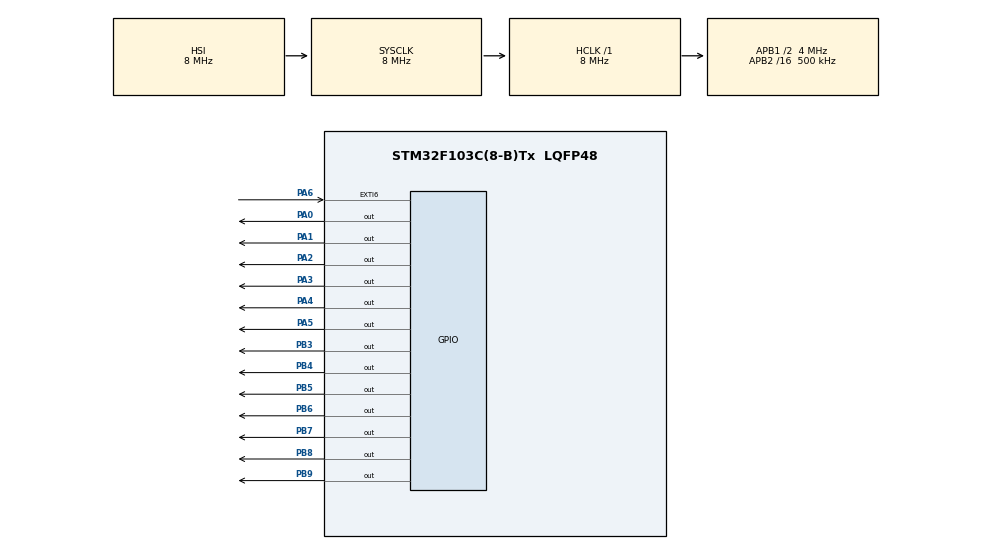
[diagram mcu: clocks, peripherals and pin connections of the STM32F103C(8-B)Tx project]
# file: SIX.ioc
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Mcu.Family=STM32F1
Mcu.Name=STM32F103C(8-B)Tx
Mcu.Package=LQFP48
NVIC.EXTI9_5_IRQn=true\:0\:0\:false\:false\:true\:true\:true\:true
NVIC.PriorityGroup=NVIC_PRIORITYGROUP_4
NVIC.TIM1_UP_IRQn=true\:1\:0\:true\:false\:true\:true\:true\:true
PA0-WKUP.GPIO_Speed=GPIO_SPEED_FREQ_HIGH
PA0-WKUP.Signal=GPIO_Output
PA1.GPIO_Speed=GPIO_SPEED_FREQ_HIGH
PA1.Signal=GPIO_Output
PA2.GPIO_Speed=GPIO_SPEED_FREQ_HIGH
PA2.Signal=GPIO_Output
PA3.GPIO_Speed=GPIO_SPEED_FREQ_HIGH
PA3.Signal=GPIO_Output
PA4.GPIO_Speed=GPIO_SPEED_FREQ_HIGH
PA4.Signal=GPIO_Output
PA5.GPIO_Speed=GPIO_SPEED_FREQ_HIGH
PA5.Signal=GPIO_Output
PA6.GPIO_ModeDefaultEXTI=GPIO_MODE_IT_FALLING
PA6.GPIO_PuPd=GPIO_PULLUP
PA6.Signal=GPXTI6
PB3.GPIO_Speed=GPIO_SPEED_FREQ_HIGH
PB3.Signal=GPIO_Output
PB4.GPIO_Speed=GPIO_SPEED_FREQ_HIGH
PB4.Signal=GPIO_Output
PB5.GPIO_Speed=GPIO_SPEED_FREQ_HIGH
PB5.Signal=GPIO_Output
PB6.GPIO_Speed=GPIO_SPEED_FREQ_HIGH
PB6.Signal=GPIO_Output
PB7.GPIO_Speed=GPIO_SPEED_FREQ_HIGH
PB7.Signal=GPIO_Output
PB8.GPIO_Speed=GPIO_SPEED_FREQ_HIGH
PB8.Signal=GPIO_Output
PB9.GPIO_Speed=GPIO_SPEED_FREQ_HIGH
PB9.Signal=GPIO_Output
PD0-OSC_IN.Mode=HSE-External-Oscillator
PD0-OSC_IN.Signal=RCC_OSC_IN
PD1-OSC_OUT.Mode=HSE-External-Oscillator
PD1-OSC_OUT.Signal=RCC_OSC_OUT
ProjectManager.HeapSize=0x200
ProjectManager.StackSize=0x400
ProjectManager.TargetToolchain=STM32CubeIDE
RCC.AHBFreq_Value=8000000
RCC.APB1CLKDivider=RCC_HCLK_DIV2
RCC.APB1Freq_Value=4000000
RCC.APB1TimFreq_Value=8000000
RCC.APB2CLKDivider=RCC_HCLK_DIV16
RCC.APB2Freq_Value=500000
RCC.APB2TimFreq_Value=1000000
RCC.HCLKFreq_Value=8000000
RCC.SYSCLKFreq_VALUE=8000000
RCC.USBFreq_Value=8000000
TIM1.Period=1000-1
TIM1.Prescaler=1000-1
VP_TIM1_VS_ClockSourceINT.Mode=Internal
board=custom

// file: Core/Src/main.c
/* USER CODE BEGIN Header */
/* USER CODE END Header */
#include "main.h"

TIM_HandleTypeDef htim1;

/* USER CODE BEGIN PV */
int sec, min, hour;

/* USER CODE END PV */

void SystemClock_Config(void);
static void MX_GPIO_Init(void);
static void MX_TIM1_Init(void);

/* USER CODE BEGIN 0 */

void displayDigit(int digit, int value)
{
    switch (digit)
    {
		case 1:
			HAL_GPIO_WritePin(GPIOA, GPIO_PIN_0, GPIO_PIN_RESET);
			break;

		case 2:
			HAL_GPIO_WritePin(GPIOA, GPIO_PIN_1, GPIO_PIN_RESET);
			break;

		case 3:
			HAL_GPIO_WritePin(GPIOA, GPIO_PIN_2, GPIO_PIN_RESET);
			break;

		case 4:
			HAL_GPIO_WritePin(GPIOA, GPIO_PIN_3, GPIO_PIN_RESET);
			break;

		case 5:
			HAL_GPIO_WritePin(GPIOA, GPIO_PIN_4, GPIO_PIN_RESET);
			break;

		case 6:
			HAL_GPIO_WritePin(GPIOA, GPIO_PIN_5, GPIO_PIN_RESET);
			break;
    }

    switch (value)
    {
		case 0:
			HAL_GPIO_WritePin(GPIOB, GPIO_PIN_3 | GPIO_PIN_4 | GPIO_PIN_5 | GPIO_PIN_6 | GPIO_PIN_7 | GPIO_PIN_8, GPIO_PIN_SET);
			HAL_GPIO_WritePin(GPIOB, GPIO_PIN_9 | GPIO_PIN_10, GPIO_PIN_RESET);
			break;

		case 1:
			HAL_GPIO_WritePin(GPIOB, GPIO_PIN_4 | GPIO_PIN_5, GPIO_PIN_SET);
			HAL_GPIO_WritePin(GPIOB, GPIO_PIN_3 | GPIO_PIN_6 | GPIO_PIN_8 | GPIO_PIN_7 | GPIO_PIN_9 | GPIO_PIN_10, GPIO_PIN_RESET);
			break;

		case 2:
			HAL_GPIO_WritePin(GPIOB, GPIO_PIN_3 | GPIO_PIN_4 | GPIO_PIN_6 | GPIO_PIN_7 | GPIO_PIN_9, GPIO_PIN_SET);
			HAL_GPIO_WritePin(GPIOB, GPIO_PIN_5 | GPIO_PIN_8 | GPIO_PIN_10, GPIO_PIN_RESET);
			break;

		case 3:
			HAL_GPIO_WritePin(GPIOB, GPIO_PIN_3 | GPIO_PIN_4 | GPIO_PIN_5 | GPIO_PIN_6 | GPIO_PIN_9, GPIO_PIN_SET);
			HAL_GPIO_WritePin(GPIOB, GPIO_PIN_7 | GPIO_PIN_8 | GPIO_PIN_10, GPIO_PIN_RESET);
			break;

		case 4:
			HAL_GPIO_WritePin(GPIOB, GPIO_PIN_4 | GPIO_PIN_5 | GPIO_PIN_8 | GPIO_PIN_9, GPIO_PIN_SET);
			HAL_GPIO_WritePin(GPIOB, GPIO_PIN_3 | GPIO_PIN_6 | GPIO_PIN_7 | GPIO_PIN_10, GPIO_PIN_RESET);
			break;

		case 5:
			HAL_GPIO_WritePin(GPIOB, GPIO_PIN_3 | GPIO_PIN_5 | GPIO_PIN_6 | GPIO_PIN_8 | GPIO_PIN_9, GPIO_PIN_SET);
			HAL_GPIO_WritePin(GPIOB, GPIO_PIN_4 | GPIO_PIN_7 | GPIO_PIN_10, GPIO_PIN_RESET);
			break;

		case 6:
			HAL_GPIO_WritePin(GPIOB, GPIO_PIN_3 | GPIO_PIN_5 | GPIO_PIN_6 | GPIO_PIN_7 | GPIO_PIN_8 | GPIO_PIN_9, GPIO_PIN_SET);
			HAL_GPIO_WritePin(GPIOB, GPIO_PIN_4 | GPIO_PIN_10, GPIO_PIN_RESET);
			break;

		case 7:
			HAL_GPIO_WritePin(GPIOB, GPIO_PIN_3 | GPIO_PIN_4 | GPIO_PIN_5 , GPIO_PIN_SET);
			HAL_GPIO_WritePin(GPIOB, GPIO_PIN_6 | GPIO_PIN_7 | GPIO_PIN_8 | GPIO_PIN_9 | GPIO_PIN_10, GPIO_PIN_RESET);
			break;

		case 8:
			HAL_GPIO_WritePin(GPIOB, GPIO_PIN_3 | GPIO_PIN_4 | GPIO_PIN_5 | GPIO_PIN_6 | GPIO_PIN_7 | GPIO_PIN_8 | GPIO_PIN_9, GPIO_PIN_SET);
			HAL_GPIO_WritePin(GPIOB, GPIO_PIN_10, GPIO_PIN_RESET);
			break;

		case 9:
			HAL_GPIO_WritePin(GPIOB, GPIO_PIN_3 | GPIO_PIN_4 | GPIO_PIN_5 | GPIO_PIN_6 | GPIO_PIN_8 | GPIO_PIN_9, GPIO_PIN_SET);
			HAL_GPIO_WritePin(GPIOB, GPIO_PIN_7 | GPIO_PIN_10, GPIO_PIN_RESET);
			break;
    }
}

void displayNumber(int number)
{
    int digit1 = (hour / 10) % 10;
    int digit2 = hour % 10;

    int digit3 = (min / 10) % 10;
    int digit4 = min % 10;

    int digit5 = (sec / 10) % 10;
    int digit6 = sec % 10;

	HAL_GPIO_WritePin(GPIOA, GPIO_PIN_0 | GPIO_PIN_1 | GPIO_PIN_2 | GPIO_PIN_3 | GPIO_PIN_4 | GPIO_PIN_5, GPIO_PIN_SET);
	displayDigit(1, digit1);
	HAL_Delay(1);

	HAL_GPIO_WritePin(GPIOA, GPIO_PIN_0 | GPIO_PIN_1 | GPIO_PIN_2 | GPIO_PIN_3 | GPIO_PIN_4 | GPIO_PIN_5, GPIO_PIN_SET);
	displayDigit(2, digit2);
	HAL_Delay(1);

	HAL_GPIO_WritePin(GPIOA, GPIO_PIN_0 | GPIO_PIN_1 | GPIO_PIN_2 | GPIO_PIN_3 | GPIO_PIN_4 | GPIO_PIN_5, GPIO_PIN_SET);
	displayDigit(3, digit3);
	HAL_Delay(1);

    HAL_GPIO_WritePin(GPIOA, GPIO_PIN_0 | GPIO_PIN_1 | GPIO_PIN_2 | GPIO_PIN_3 | GPIO_PIN_4 | GPIO_PIN_5, GPIO_PIN_SET);
    displayDigit(4, digit4);
    HAL_Delay(1);

	HAL_GPIO_WritePin(GPIOA, GPIO_PIN_0 | GPIO_PIN_1 | GPIO_PIN_2 | GPIO_PIN_3 | GPIO_PIN_4 | GPIO_PIN_5, GPIO_PIN_SET);
	displayDigit(5, digit5);
	HAL_Delay(1);

    HAL_GPIO_WritePin(GPIOA, GPIO_PIN_0 | GPIO_PIN_1 | GPIO_PIN_2 | GPIO_PIN_3 | GPIO_PIN_4 | GPIO_PIN_5, GPIO_PIN_SET);
    displayDigit(6, digit6);
    HAL_Delay(1);
}

void HAL_TIM_PeriodElapsedCallback(TIM_HandleTypeDef *htim){
	sec++;

	if (sec == 60){
		sec = 0;
		min++;
	}

	if (min == 60){
		min = 0;
		hour++;
	}

	if (hour == 24){
		hour = 0;
	}
}

void HAL_GPIO_EXTI_Callback(uint16_t GPIO_Pin){
	int duty = 1;

	switch (duty){
	case 0: // Reset Time
		sec = 0;
		min = 0;
		hour =0;
		break;

	case 1: // Set Time with seconds
		sec++;

		if (sec == 60){
			sec = 0;
			min++;
		}

		if (min == 60){
			min = 0;
			hour++;
		}

		if (hour == 24){
			hour = 0;
		}

		break;
	}

}

/* USER CODE END 0 */

int main(void)
{

  /* MCU Configuration--------------------------------------------------------*/

  /* Reset of all peripherals, Initializes the Flash interface and the Systick. */
  HAL_Init();

  /* Configure the system clock */
  SystemClock_Config();

  /* Initialize all configured peripherals */
  MX_GPIO_Init();
  MX_TIM1_Init();
  /* USER CODE BEGIN 2 */

  GPIO_InitTypeDef GPIO_InitStruct;
  __HAL_RCC_GPIOA_CLK_ENABLE();
  __HAL_RCC_GPIOB_CLK_ENABLE();

  GPIO_InitStruct.Pin = GPIO_PIN_0 | GPIO_PIN_1 | GPIO_PIN_2 | GPIO_PIN_3 | GPIO_PIN_4 | GPIO_PIN_5;
  GPIO_InitStruct.Mode = GPIO_MODE_OUTPUT_PP;
  GPIO_InitStruct.Speed = GPIO_SPEED_FREQ_HIGH;
  HAL_GPIO_Init(GPIOA, &GPIO_InitStruct);
  GPIO_InitStruct.Pin = GPIO_PIN_3 | GPIO_PIN_4 | GPIO_PIN_5 | GPIO_PIN_6 | GPIO_PIN_7 | GPIO_PIN_8 | GPIO_PIN_9 | GPIO_PIN_10;
  GPIO_InitStruct.Mode = GPIO_MODE_OUTPUT_PP;
  GPIO_InitStruct.Speed = GPIO_SPEED_FREQ_HIGH;
  HAL_GPIO_Init(GPIOB, &GPIO_InitStruct);

  HAL_GPIO_WritePin(GPIOA, GPIO_PIN_0 | GPIO_PIN_1 | GPIO_PIN_2 | GPIO_PIN_3 | GPIO_PIN_4 | GPIO_PIN_5, GPIO_PIN_RESET);

  HAL_TIM_Base_Start_IT(&htim1);

  while (1)
  {
	  displayNumber(sec);
  }

  /* USER CODE END 2 */

  /* Infinite loop */

}

void SystemClock_Config(void)
{
  RCC_OscInitTypeDef RCC_OscInitStruct = {0};
  RCC_ClkInitTypeDef RCC_ClkInitStruct = {0};

  /** Initializes the RCC Oscillators according to the specified parameters
  * in the RCC_OscInitTypeDef structure.
  */
  RCC_OscInitStruct.OscillatorType = RCC_OSCILLATORTYPE_HSI;
  RCC_OscInitStruct.HSIState = RCC_HSI_ON;
  RCC_OscInitStruct.HSICalibrationValue = RCC_HSICALIBRATION_DEFAULT;
  RCC_OscInitStruct.PLL.PLLState = RCC_PLL_NONE;
  if (HAL_RCC_OscConfig(&RCC_OscInitStruct) != HAL_OK)
  {
    Error_Handler();
  }

  /** Initializes the CPU, AHB and APB buses clocks
  */
  RCC_ClkInitStruct.ClockType = RCC_CLOCKTYPE_HCLK|RCC_CLOCKTYPE_SYSCLK
                              |RCC_CLOCKTYPE_PCLK1|RCC_CLOCKTYPE_PCLK2;
  RCC_ClkInitStruct.SYSCLKSource = RCC_SYSCLKSOURCE_HSI;
  RCC_ClkInitStruct.AHBCLKDivider = RCC_SYSCLK_DIV1;
  RCC_ClkInitStruct.APB1CLKDivider = RCC_HCLK_DIV2;
  RCC_ClkInitStruct.APB2CLKDivider = RCC_HCLK_DIV16;

  if (HAL_RCC_ClockConfig(&RCC_ClkInitStruct, FLASH_LATENCY_0) != HAL_OK)
  {
    Error_Handler();
  }
}

static void MX_TIM1_Init(void)
{

  TIM_ClockConfigTypeDef sClockSourceConfig = {0};
  TIM_MasterConfigTypeDef sMasterConfig = {0};

  htim1.Instance = TIM1;
  htim1.Init.Prescaler = 1000-1;
  htim1.Init.CounterMode = TIM_COUNTERMODE_UP;
  htim1.Init.Period = 1000-1;
  htim1.Init.ClockDivision = TIM_CLOCKDIVISION_DIV1;
  htim1.Init.RepetitionCounter = 0;
  htim1.Init.AutoReloadPreload = TIM_AUTORELOAD_PRELOAD_DISABLE;
  if (HAL_TIM_Base_Init(&htim1) != HAL_OK)
  {
    Error_Handler();
  }
  sClockSourceConfig.ClockSource = TIM_CLOCKSOURCE_INTERNAL;
  if (HAL_TIM_ConfigClockSource(&htim1, &sClockSourceConfig) != HAL_OK)
  {
    Error_Handler();
  }
  sMasterConfig.MasterOutputTrigger = TIM_TRGO_RESET;
  sMasterConfig.MasterSlaveMode = TIM_MASTERSLAVEMODE_DISABLE;
  if (HAL_TIMEx_MasterConfigSynchronization(&htim1, &sMasterConfig) != HAL_OK)
  {
    Error_Handler();
  }

}

static void MX_GPIO_Init(void)
{
  GPIO_InitTypeDef GPIO_InitStruct = {0};

  /* GPIO Ports Clock Enable */
  __HAL_RCC_GPIOD_CLK_ENABLE();
  __HAL_RCC_GPIOA_CLK_ENABLE();
  __HAL_RCC_GPIOB_CLK_ENABLE();

  /*Configure GPIO pin Output Level */
  HAL_GPIO_WritePin(GPIOA, GPIO_PIN_0|GPIO_PIN_1|GPIO_PIN_2|GPIO_PIN_3
                          |GPIO_PIN_4|GPIO_PIN_5, GPIO_PIN_RESET);

  /*Configure GPIO pin Output Level */
  HAL_GPIO_WritePin(GPIOB, GPIO_PIN_3|GPIO_PIN_4|GPIO_PIN_5|GPIO_PIN_6
                          |GPIO_PIN_7|GPIO_PIN_8|GPIO_PIN_9, GPIO_PIN_RESET);

  /*Configure GPIO pins : PA0 PA1 PA2 PA3
                           PA4 PA5 */
  GPIO_InitStruct.Pin = GPIO_PIN_0|GPIO_PIN_1|GPIO_PIN_2|GPIO_PIN_3
                          |GPIO_PIN_4|GPIO_PIN_5;
  GPIO_InitStruct.Mode = GPIO_MODE_OUTPUT_PP;
  GPIO_InitStruct.Pull = GPIO_NOPULL;
  GPIO_InitStruct.Speed = GPIO_SPEED_FREQ_HIGH;
  HAL_GPIO_Init(GPIOA, &GPIO_InitStruct);

  /*Configure GPIO pin : PA6 */
  GPIO_InitStruct.Pin = GPIO_PIN_6;
  GPIO_InitStruct.Mode = GPIO_MODE_IT_FALLING;
  GPIO_InitStruct.Pull = GPIO_PULLUP;
  HAL_GPIO_Init(GPIOA, &GPIO_InitStruct);

  /*Configure GPIO pins : PB3 PB4 PB5 PB6
                           PB7 PB8 PB9 */
  GPIO_InitStruct.Pin = GPIO_PIN_3|GPIO_PIN_4|GPIO_PIN_5|GPIO_PIN_6
                          |GPIO_PIN_7|GPIO_PIN_8|GPIO_PIN_9;
  GPIO_InitStruct.Mode = GPIO_MODE_OUTPUT_PP;
  GPIO_InitStruct.Pull = GPIO_NOPULL;
  GPIO_InitStruct.Speed = GPIO_SPEED_FREQ_HIGH;
  HAL_GPIO_Init(GPIOB, &GPIO_InitStruct);

  /* EXTI interrupt init*/
  HAL_NVIC_SetPriority(EXTI9_5_IRQn, 0, 0);
  HAL_NVIC_EnableIRQ(EXTI9_5_IRQn);

}

void Error_Handler(void)
{
}
